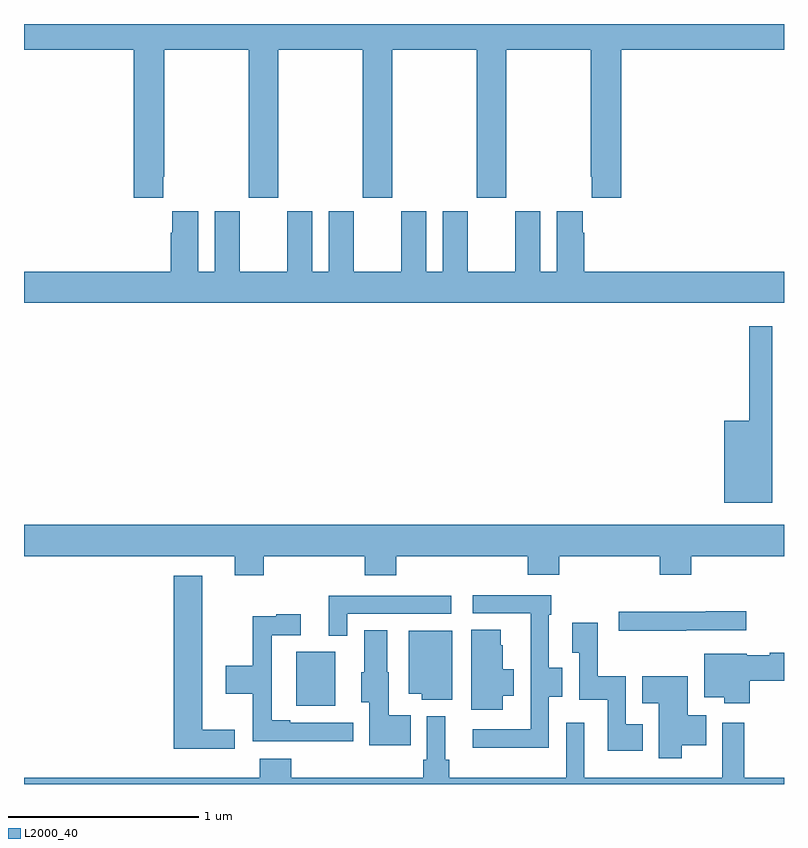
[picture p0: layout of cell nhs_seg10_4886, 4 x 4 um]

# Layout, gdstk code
import gdstk
lib = gdstk.Library(unit=1e-6, precision=1e-09)
def R(c, l, rs):  # rectangles x0, y0, x1, y1
    for r in rs: c.add(gdstk.rectangle(r[:2], r[2:], *l))
def P(c, l, *ps):  # polygons
    for p in ps: c.add(gdstk.Polygon(p, *l))
L2000_40 = (2000, 40)

nhs_seg10_4886 = lib.new_cell('nhs_seg10_4886')
R(nhs_seg10_4886, L2000_40, [(394.433,1248.911,394.639,1249.195)])
P(nhs_seg10_4886, L2000_40, [(393.733,1251.697),(393.738,1251.697),(393.738,1252.364),(394.183,1252.364),(394.183,1251.585),(394.338,1251.585),(394.338,1252.364),(394.783,1252.364),(394.783,1251.585),(394.938,1251.585),(394.938,1252.364),(395.383,1252.364),(395.383,1251.585),(395.538,1251.585),(395.538,1252.364),(395.983,1252.364),(395.983,1251.697),(395.987,1251.697),(395.987,1251.585),(396.143,1251.585),(396.143,1252.364),(397,1252.364),(397,1252.5),(393,1252.5),(393,1252.364),(393.578,1252.364),(393.578,1251.585),(393.733,1251.585)],
  [(393.779,1251.514),(393.779,1251.401),(393.773,1251.401),(393.773,1251.196),(393,1251.196),(393,1251.032),(397,1251.032),(397,1251.196),(395.948,1251.196),(395.948,1251.401),(395.941,1251.401),(395.941,1251.514),(395.804,1251.514),(395.804,1251.196),(395.716,1251.196),(395.716,1251.514),(395.585,1251.514),(395.585,1251.196),(395.335,1251.196),(395.335,1251.514),(395.204,1251.514),(395.204,1251.196),(395.116,1251.196),(395.116,1251.514),(394.985,1251.514),(394.985,1251.196),(394.735,1251.196),(394.735,1251.514),(394.604,1251.514),(394.604,1251.196),(394.516,1251.196),(394.516,1251.514),(394.385,1251.514),(394.385,1251.196),(394.135,1251.196),(394.135,1251.514),(394.004,1251.514),(394.004,1251.196),(393.916,1251.196),(393.916,1251.514)],
  [(396.937,1250.908),(396.816,1250.908),(396.816,1250.413),(396.686,1250.413),(396.686,1249.979),(396.937,1249.979)],
  [(394.262,1249.7),(394.793,1249.7),(394.793,1249.598),(394.958,1249.598),(394.958,1249.7),(395.651,1249.7),(395.651,1249.601),(395.816,1249.601),(395.816,1249.7),(396.347,1249.7),(396.347,1249.601),(396.512,1249.601),(396.512,1249.7),(397,1249.7),(397,1249.864),(393,1249.864),(393,1249.7),(394.109,1249.7),(394.109,1249.598),(394.262,1249.598)],
  [(394.108,1248.785),(393.937,1248.785),(393.937,1249.597),(393.788,1249.597),(393.788,1248.686),(394.108,1248.686)],
  [(395.763,1248.958),(395.833,1248.958),(395.833,1249.113),(395.763,1249.113),(395.763,1249.391),(395.776,1249.391),(395.776,1249.494),(395.361,1249.494),(395.361,1249.398),(395.666,1249.398),(395.666,1249.201),(395.667,1249.201),(395.667,1248.789),(395.361,1248.789),(395.361,1248.692),(395.763,1248.692)],
  [(394.701,1249.395),(395.248,1249.395),(395.248,1249.491),(394.604,1249.491),(394.604,1249.28),(394.701,1249.28)],
  [(396.485,1249.308),(396.802,1249.308),(396.802,1249.409),(396.589,1249.409),(396.589,1249.406),(396.129,1249.406),(396.129,1249.306),(396.485,1249.306)],
  [(394.732,1248.822),(394.402,1248.822),(394.402,1248.835),(394.305,1248.835),(394.305,1249.284),(394.456,1249.284),(394.456,1249.393),(394.328,1249.393),(394.328,1249.382),(394.204,1249.382),(394.204,1249.122),(394.062,1249.122),(394.062,1248.974),(394.204,1248.974),(394.204,1248.726),(394.489,1248.726),(394.489,1248.725),(394.732,1248.725)],
  [(396.256,1248.814),(396.168,1248.814),(396.168,1249.066),(396.021,1249.066),(396.021,1249.348),(395.885,1249.348),(395.885,1249.192),(395.922,1249.192),(395.922,1248.944),(396.072,1248.944),(396.072,1248.674),(396.256,1248.674)],
  [(395.521,1248.965),(395.578,1248.965),(395.578,1249.105),(395.521,1249.105),(395.521,1249.23),(395.509,1249.23),(395.509,1249.313),(395.354,1249.313),(395.354,1248.89),(395.521,1248.89)],
  [(395.036,1248.862),(394.921,1248.862),(394.921,1249.089),(394.912,1249.089),(394.912,1249.31),(394.79,1249.31),(394.79,1249.089),(394.775,1249.089),(394.775,1248.93),(394.817,1248.93),(394.817,1248.704),(395.036,1248.704)],
  [(395.254,1249.306),(395.024,1249.306),(395.024,1248.974),(395.093,1248.974),(395.093,1248.944),(395.254,1248.944)],
  [(396.821,1249.043),(397,1249.043),(397,1249.19),(396.924,1249.19),(396.924,1249.177),(396.804,1249.177),(396.804,1249.186),(396.581,1249.186),(396.581,1248.956),(396.686,1248.956),(396.686,1248.926),(396.821,1248.926)],
  [(396.463,1248.704),(396.59,1248.704),(396.59,1248.862),(396.493,1248.862),(396.493,1249.066),(396.253,1249.066),(396.253,1248.926),(396.341,1248.926),(396.341,1248.636),(396.463,1248.636)],
  [(397,1248.532),(396.791,1248.532),(396.791,1248.823),(396.675,1248.823),(396.675,1248.532),(395.949,1248.532),(395.949,1248.823),(395.853,1248.823),(395.853,1248.532),(395.237,1248.532),(395.237,1248.628),(395.218,1248.628),(395.218,1248.856),(395.121,1248.856),(395.121,1248.628),(395.101,1248.628),(395.101,1248.532),(394.406,1248.532),(394.406,1248.634),(394.241,1248.634),(394.241,1248.532),(393,1248.532),(393,1248.5),(397,1248.5)])

lib.write_gds('nhs_seg10_4886.gds')
